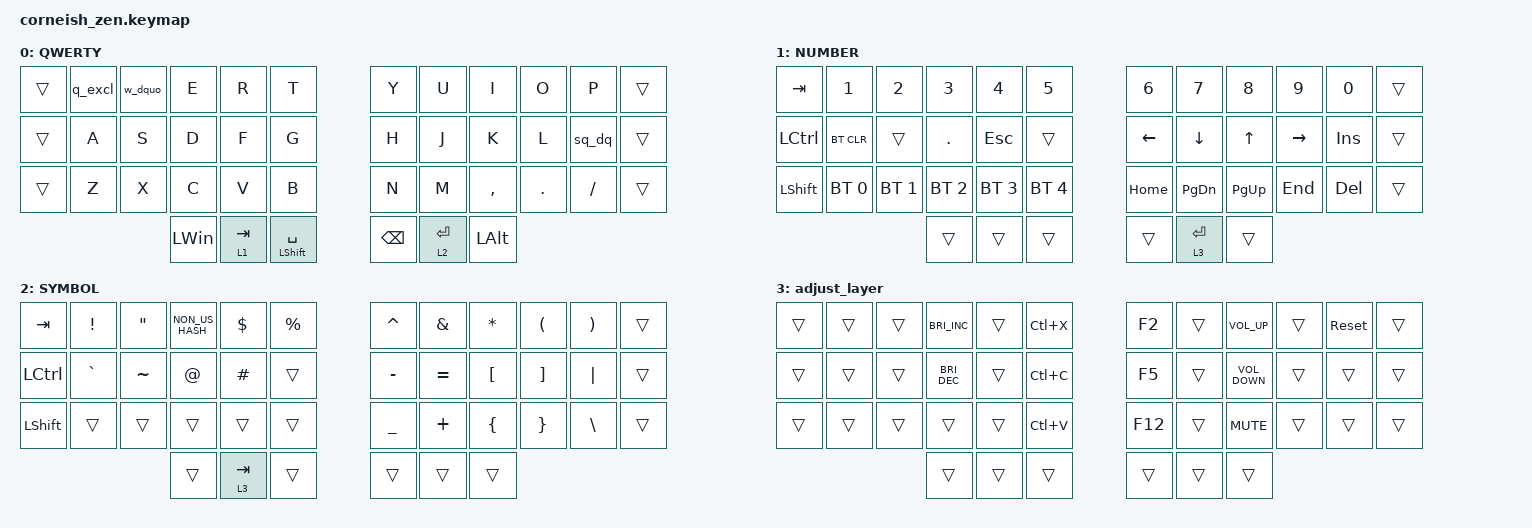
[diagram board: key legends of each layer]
#include <behaviors.dtsi>
#include <dt-bindings/zmk/bt.h>
#include <dt-bindings/zmk/keys.h>

/ {
    chosen {
        zmk,matrix_transform = &default_transform;

        //zmk,matrix_transform = &five_column_transform;
    };
};

/ {
    combos {
        compatible = "zmk,combos";

        semicolon {
            bindings = <&kp SEMI>;
            key-positions = <32 33>;
        };

        colon {
            bindings = <&kp COLON>;
            key-positions = <33 34>;
        };

        combo_shift {
            bindings = <&sk LEFT_SHIFT>;
            key-positions = <15 16>;
        };

        combo_ctrl {
            bindings = <&sk LCTRL>;
            key-positions = <14 15>;
        };

        combo_alt {
            bindings = <&sk LEFT_ALT>;
            key-positions = <26 27>;
        };

        combo_gui {
            bindings = <&sk LEFT_GUI>;
            key-positions = <27 28>;
        };
    };

    behaviors {
        q_excl: q_excl {
            compatible = "zmk,behavior-tap-dance";
            label = "Q_EXCL";
            #binding-cells = <0>;
            bindings = <&kp Q>, <&kp EXCLAMATION>;
        };

        w_dquo: w_dquo {
            compatible = "zmk,behavior-tap-dance";
            label = "W_DQUO";
            #binding-cells = <0>;
            bindings = <&kp W>, <&kp DOUBLE_QUOTES>;
        };

        sq_dq: sq_dq {
            compatible = "zmk,behavior-tap-dance";
            label = "SQ_DQ";
            #binding-cells = <0>;
            bindings = <&kp SINGLE_QUOTE>, <&kp DOUBLE_QUOTES>;
        };
    };

    keymap {
        compatible = "zmk,keymap";

        default_layer {
            // -----------------------------------------------------------------------------------------
            // | TOG1 |  Q  |  W  |  E  |  R  |  T  |   |  Y  |  U   |  I  |  O  |  P  | BKSP |
            // | CTRL |  A  |  S  |  D  |  F  |  G  |   |  H  |  J   |  K  |  L  |  '  | ENT  |
            // | SHFT |  Z  |  X  |  C  |  V  |  B  |   |  N  |  M   |  ,  |  .  |  /  | ESC  |
            //                    | GUI | LWR | SPC |   | BSPC| RSE  | ALT |

            bindings = <
&trans  &q_excl  &w_dquo  &kp E         &kp R      &kp T              &kp Y          &kp U        &kp I      &kp O    &kp P     &trans
&trans  &kp A    &kp S    &kp D         &kp F      &kp G              &kp H          &kp J        &kp K      &kp L    &sq_dq    &trans
&trans  &kp Z    &kp X    &kp C         &kp V      &kp B              &kp N          &kp M        &kp COMMA  &kp DOT  &kp FSLH  &trans
                          &kp LEFT_WIN  &lt 1 TAB  &mt LSHFT SPACE    &kp BACKSPACE  &lt 2 ENTER  &kp LALT
            >;

            label = "QWERTY";
        };

        lower_layer {
            label = "NUMBER";

            // -----------------------------------------------------------------------------------------
            // |  TAB |  1  |  2  |  3  |  4  |  5  |   |  6  |  7  |  8  |  9  |  0  | BKSP |
            // | BTCLR| BT1 | BT2 | BT3 | BT4 | BT5 |   | LFT | DWN |  UP | RGT |     |      |
            // | SHFT |     |     |     |     |     |   |     |     |     |     |     |      |
            //                    | GUI |     | SPC |   | ENT |     | ALT |

            bindings = <
&kp TAB    &kp N1        &kp N2        &kp N3        &kp N4        &kp N5          &kp N6    &kp N7         &kp N8       &kp N9     &kp N0   &trans
&kp LCTRL  &bt BT_CLR    &trans        &kp DOT       &kp ESC       &trans          &kp LEFT  &kp DOWN       &kp UP       &kp RIGHT  &kp INS  &trans
&kp LSHFT  &bt BT_SEL 0  &bt BT_SEL 1  &bt BT_SEL 2  &bt BT_SEL 3  &bt BT_SEL 4    &kp HOME  &kp PAGE_DOWN  &kp PAGE_UP  &kp END    &kp DEL  &trans
                                       &trans        &trans        &trans          &trans    &lt 3 ENTER    &trans
            >;
        };

        raise_layer {
            label = "SYMBOL";

            // -----------------------------------------------------------------------------------------
            // |  TAB |  !  |  @  |  #  |  $  |  %  |   |  ^  |  &  |  *  |  (  |  )  | BKSP |
            // | CTRL |     |     |     |     |     |   |  -  |  =  |  [  |  ]  |  \  |  `   |
            // | SHFT |     |     |     |     |     |   |  _  |  +  |  {  |  }  | "|" |  ~   |
            //                    | GUI |     | SPC |   | ENT |     | ALT |

            bindings = <
&kp TAB    &kp EXCL   &kp DOUBLE_QUOTES  &kp NON_US_HASH  &kp DLLR   &kp PRCNT    &kp CARET  &kp AMPS   &kp STAR  &kp LPAR  &kp RPAR       &trans
&kp LCTRL  &kp GRAVE  &kp TILDE          &kp AT           &kp HASH   &trans       &kp MINUS  &kp EQUAL  &kp LBKT  &kp RBKT  &kp PIPE       &trans
&kp LSHFT  &trans     &trans             &trans           &trans     &trans       &kp UNDER  &kp PLUS   &kp LBRC  &kp RBRC  &kp BACKSLASH  &trans
                                         &trans           &lt 3 TAB  &trans       &trans     &trans     &trans
            >;
        };

        adjust_layer {
            bindings = <
&trans  &trans  &trans  &kp C_BRIGHTNESS_INC  &trans  &kp LC(X)    &kp F2   &trans  &kp C_VOLUME_UP    &trans  &sys_reset  &trans
&trans  &trans  &trans  &kp C_BRIGHTNESS_DEC  &trans  &kp LC(C)    &kp F5   &trans  &kp C_VOLUME_DOWN  &trans  &trans      &trans
&trans  &trans  &trans  &trans                &trans  &kp LC(V)    &kp F12  &trans  &kp C_MUTE         &trans  &trans      &trans
                        &trans                &trans  &trans       &trans   &trans  &trans
            >;
        };
    };
};
